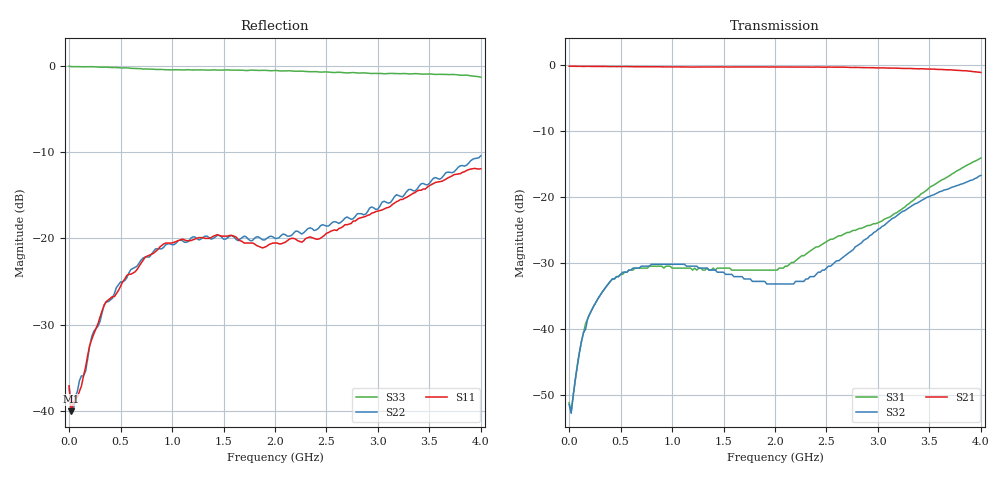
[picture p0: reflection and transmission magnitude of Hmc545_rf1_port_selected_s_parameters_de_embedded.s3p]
!Hittite Microwave Corporation
!20 Alpha Rd
!Chelmsford, MA 01824
!Tel: 978-250-3343
!Fax: 978-250-3373
!Device: HMC545, DC - 4 GHz  T/R Switch in  SOT26 SMT package
!Misc: Port1=RFC, Port2= RF1, Port3=RF2, RF1 ON, Data taken on a part mounted on 101659-4 Eval PCB,Bias: +5VDC
# MHZ S MA R 50
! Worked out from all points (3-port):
!   201 points, 30 kHz to 4 GHz, reference 50 ohm
!   strongest paths, dB at 30 kHz, 1 GHz, 2 GHz, 3 GHz, 4 GHz:
!     S21: -0.2, -0.3, -0.3, -0.4, -1.1
!     S32: -51.4, -30.2, -33.2, -24.9, -16.7
!     S31: -51.1, -30.8, -31.1, -23.9, -14.1
!   lowest |S11| = -40.0 dB at 20.03 MHz (marker M1), VSWR 1.02, Z = 51 - j0.252 ohm
!   |S11| at or under -10 dB: start of sweep to end of sweep
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0.03  0.014 21.1  0.981 -0.3  0.00277 -14.4
      0.982 -0.3  0.014 17.7  0.002726 -14.5
      0.002777 -14.6  0.002698 -13.3  0.993 -0.0
20.03  0.009979 -14.3  0.981 -0.7  0.002438 20.8
       0.981 -0.6  0.009711 -14.2  0.00246 21.3
       0.002371 22.7  0.002304 21.9  0.987 -4.2
180.029  0.021 -65.8  0.979 -5.2  0.012 65.0
         0.979 -5.2  0.02 -64.9  0.012 59.0
         0.012 65.3  0.012 58.8  0.985 -35.8
340.027  0.041 -77.9  0.977 -9.5  0.02 53.6
         0.977 -9.6  0.041 -75.7  0.02 42.9
         0.02 53.2  0.02 42.6  0.981 -64.1
540.026  0.058 -91.5  0.975 -14.9  0.027 40.5
         0.976 -15.0  0.057 -85.7  0.027 23.0
         0.027 40.4  0.027 22.8  0.971 -93.5
800.024  0.081 -108.3  0.972 -21.9  0.03 28.7
         0.973 -21.9  0.081 -98.8  0.031 0.3
         0.03 28.5  0.031 0.1  0.955 -122.1
1140.021  0.097 -124.8  0.968 -30.9  0.029 24.2
          0.969 -30.9  0.095 -110.5  0.031 -26.3
          0.029 23.6  0.03 -27.0  0.947 -149.7
2000.015  0.094 -148.4  0.968 -53.9  0.028 41.7
          0.968 -54.0  0.1 -119.0  0.022 -112.0
          0.028 42.2  0.022 -111.6  0.937 158.2
2860.009  0.133 -161.2  0.959 -78.5  0.059 54.9
          0.958 -78.8  0.137 -147.8  0.047 157.0
          0.059 54.6  0.047 156.7  0.908 117.6
4000  0.253 141.2  0.88 -115.2  0.198 21.5
      0.88 -115.1  0.301 163.8  0.146 78.8
      0.198 22.0  0.146 79.4  0.857 76.4
